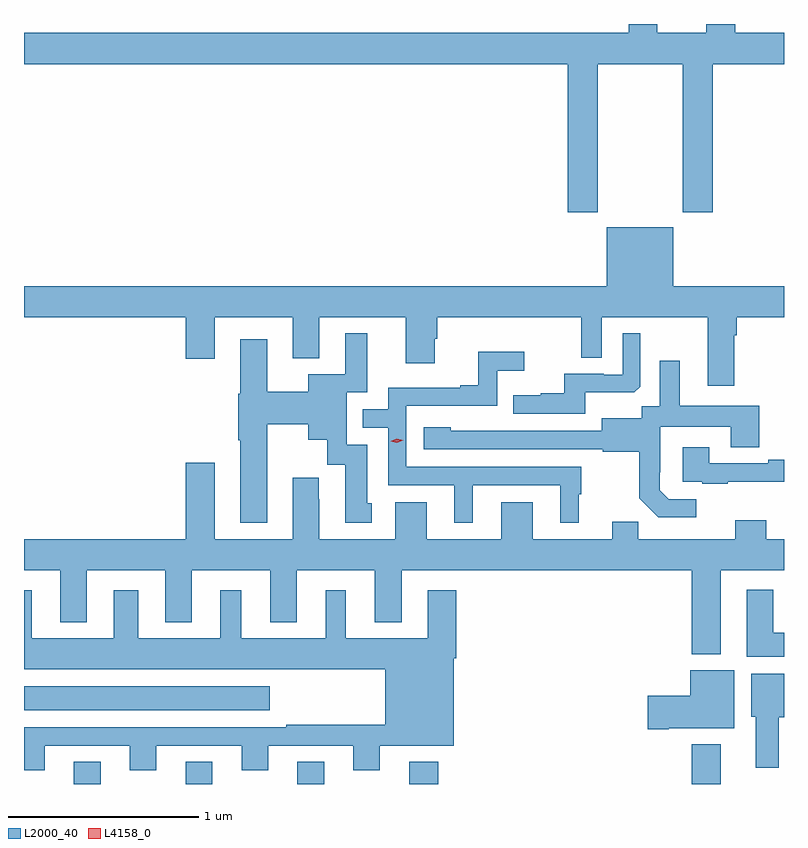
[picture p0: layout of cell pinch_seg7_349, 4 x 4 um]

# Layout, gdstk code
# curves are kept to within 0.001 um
import gdstk
lib = gdstk.Library(unit=1e-6, precision=1e-09)
def R(c, l, rs):  # rectangles x0, y0, x1, y1
    for r in rs: c.add(gdstk.rectangle(r[:2], r[2:], *l))
def A(c, l, x, y, w, h, nx, ny, dx, dy):  # array of equal rectangles
    R(c, l, [(x+i*dx, y+j*dy, x+i*dx+w, y+j*dy+h) for i in range(nx) for j in range(ny)])
def P(c, l, *ps):  # polygons
    for p in ps: c.add(gdstk.Polygon(p, *l))
L2000_40 = (2000, 40)
L4158_0 = (4158, 0)

pinch_seg7_349 = lib.new_cell('pinch_seg7_349')
A(pinch_seg7_349, L2000_40, 386.777, 1022.135, 0.14, 0.117, 3, 1, 0.588, 0)
R(pinch_seg7_349, L2000_40, [(388.541,1022.135,388.694,1022.251), (390.029,1022.135,390.181,1022.344), (386.514,1022.522,387.808,1022.65)])
P(pinch_seg7_349, L2000_40, [(389.535,1025.924),(389.98,1025.924),(389.98,1025.145),(390.14,1025.145),(390.14,1025.924),(390.514,1025.924),(390.514,1026.088),(390.257,1026.088),(390.257,1026.135),(390.104,1026.135),(390.104,1026.088),(389.848,1026.088),(389.848,1026.135),(389.696,1026.135),(389.696,1026.088),(386.514,1026.088),(386.514,1025.924),(389.375,1025.924),(389.375,1025.145),(389.535,1025.145)],
  [(386.514,1024.592),(387.365,1024.592),(387.365,1024.374),(387.517,1024.374),(387.517,1024.592),(387.929,1024.592),(387.929,1024.376),(388.069,1024.376),(388.069,1024.592),(388.523,1024.592),(388.523,1024.35),(388.675,1024.35),(388.675,1024.479),(388.688,1024.479),(388.688,1024.592),(389.448,1024.592),(389.448,1024.378),(389.556,1024.378),(389.556,1024.592),(390.113,1024.592),(390.113,1024.23),(390.253,1024.23),(390.253,1024.496),(390.266,1024.496),(390.266,1024.592),(390.514,1024.592),(390.514,1024.756),(389.932,1024.756),(389.932,1025.065),(389.582,1025.065),(389.582,1024.756),(386.514,1024.756)],
  [(389.467,1024.196),(389.725,1024.196),(389.757,1024.227),(389.757,1024.507),(389.664,1024.507),(389.664,1024.29),(389.564,1024.29),(389.564,1024.293),(389.357,1024.293),(389.357,1024.192),(389.233,1024.192),(389.233,1024.18),(389.089,1024.18),(389.089,1024.083),(389.467,1024.083)],
  [(387.793,1024.028),(388.01,1024.028),(388.01,1023.947),(388.109,1023.947),(388.109,1023.816),(388.205,1023.816),(388.205,1023.51),(388.345,1023.51),(388.345,1023.612),(388.321,1023.612),(388.321,1023.921),(388.212,1023.921),(388.212,1024.197),(388.321,1024.197),(388.321,1024.507),(388.205,1024.507),(388.205,1024.291),(388.01,1024.291),(388.01,1024.2),(387.793,1024.2),(387.793,1024.477),(387.653,1024.477),(387.653,1024.188),(387.641,1024.188),(387.641,1023.944),(387.653,1023.944),(387.653,1023.509),(387.793,1023.509)],
  [(388.876,1023.708),(389.336,1023.708),(389.336,1023.509),(389.434,1023.509),(389.434,1023.66),(389.446,1023.66),(389.446,1023.804),(388.527,1023.804),(388.527,1024.125),(389.004,1024.125),(389.004,1024.31),(389.146,1024.31),(389.146,1024.409),(388.906,1024.409),(388.906,1024.234),(388.811,1024.234),(388.811,1024.221),(388.431,1024.221),(388.431,1024.107),(388.298,1024.107),(388.298,1024.011),(388.431,1024.011),(388.431,1023.708),(388.778,1023.708),(388.778,1023.509),(388.876,1023.509)],
  [(390.052,1023.633),(389.907,1023.633),(389.86,1023.68),(389.86,1023.775),(389.862,1023.775),(389.862,1024.016),(390.233,1024.016),(390.233,1023.907),(390.385,1023.907),(390.385,1024.126),(389.965,1024.126),(389.965,1024.363),(389.861,1024.363),(389.861,1024.124),(389.766,1024.124),(389.766,1024.06),(389.555,1024.06),(389.555,1023.993),(388.761,1023.994),(388.761,1024.012),(388.617,1024.012),(388.617,1023.897),(389.559,1023.897),(389.559,1023.885),(389.751,1023.885),(389.751,1023.639),(389.851,1023.539),(390.052,1023.539)],
  [(390.217,1023.725),(390.514,1023.725),(390.514,1023.841),(390.431,1023.841),(390.431,1023.822),(390.121,1023.822),(390.121,1023.907),(389.981,1023.907),(389.981,1023.726),(390.085,1023.726),(390.085,1023.714),(390.217,1023.714)],
  [(390.181,1023.26),(390.514,1023.26),(390.514,1023.424),(390.421,1023.424),(390.421,1023.523),(390.257,1023.523),(390.257,1023.424),(389.747,1023.424),(389.747,1023.515),(389.609,1023.515),(389.609,1023.424),(389.191,1023.424),(389.191,1023.619),(389.027,1023.619),(389.027,1023.424),(388.633,1023.424),(388.633,1023.619),(388.469,1023.619),(388.469,1023.424),(388.069,1023.424),(388.069,1023.635),(388.066,1023.635),(388.066,1023.748),(387.929,1023.748),(387.929,1023.424),(387.517,1023.424),(387.517,1023.826),(387.365,1023.826),(387.365,1023.424),(386.514,1023.424),(386.514,1023.26),(386.705,1023.26),(386.705,1022.987),(386.845,1022.987),(386.845,1023.26),(387.257,1023.26),(387.257,1022.987),(387.397,1022.987),(387.397,1023.26),(387.809,1023.26),(387.809,1022.987),(387.949,1022.987),(387.949,1023.26),(388.361,1023.26),(388.361,1022.987),(388.501,1022.987),(388.501,1023.26),(390.029,1023.26),(390.029,1022.819),(390.181,1022.819)],
  [(390.514,1022.932),(390.457,1022.932),(390.457,1023.157),(390.317,1023.157),(390.317,1022.804),(390.514,1022.804)],
  [(386.623,1022.337),(387.071,1022.337),(387.071,1022.208),(387.211,1022.208),(387.211,1022.337),(387.659,1022.337),(387.659,1022.208),(387.799,1022.208),(387.799,1022.337),(388.247,1022.337),(388.247,1022.208),(388.387,1022.208),(388.387,1022.336),(388.777,1022.336),(388.777,1022.798),(388.79,1022.798),(388.79,1023.154),(388.64,1023.154),(388.64,1022.902),(388.207,1022.902),(388.207,1023.154),(388.103,1023.154),(388.103,1022.902),(387.658,1022.902),(387.658,1023.154),(387.548,1023.154),(387.548,1022.902),(387.115,1022.902),(387.115,1023.154),(386.987,1023.154),(386.987,1022.902),(386.554,1022.902),(386.554,1023.154),(386.514,1023.154),(386.514,1022.738),(388.415,1022.738),(388.415,1022.446),(387.895,1022.446),(387.895,1022.433),(386.514,1022.433),(386.514,1022.208),(386.623,1022.208)],
  [(389.908,1022.429),(390.253,1022.429),(390.253,1022.734),(390.02,1022.734),(390.02,1022.6),(389.796,1022.6),(389.796,1022.422),(389.908,1022.422)],
  [(390.487,1022.486),(390.514,1022.486),(390.514,1022.716),(390.341,1022.716),(390.341,1022.49),(390.365,1022.49),(390.365,1022.22),(390.487,1022.22)])
P(pinch_seg7_349, L4158_0, [(388.477,1023.931),(388.443,1023.939),(388.442,1023.94),(388.443,1023.94),(388.476,1023.951),(388.511,1023.943),(388.511,1023.943),(388.511,1023.943)])

lib.write_gds('pinch_seg7_349.gds')
